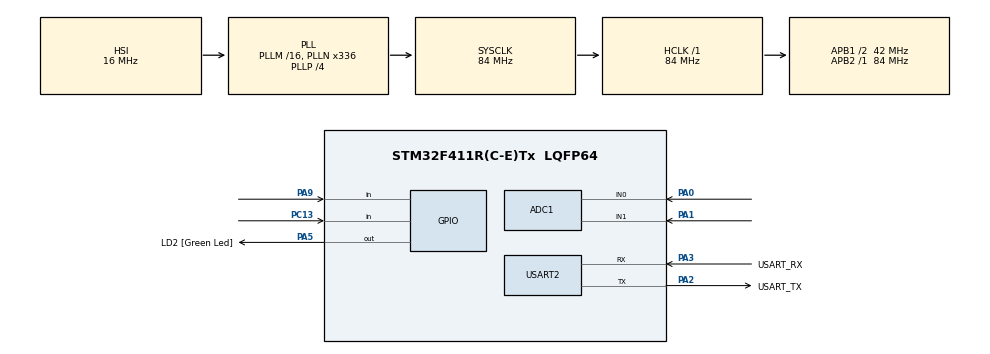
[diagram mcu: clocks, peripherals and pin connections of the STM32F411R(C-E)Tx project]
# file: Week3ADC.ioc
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ADC1.Channel-0\#ChannelRegularConversion=ADC_CHANNEL_0
ADC1.NbrOfConversionFlag=1
ADC1.Rank-0\#ChannelRegularConversion=1
ADC1.SamplingTime-0\#ChannelRegularConversion=ADC_SAMPLETIME_3CYCLES
ADC1.master=1
Mcu.Family=STM32F4
Mcu.Name=STM32F411R(C-E)Tx
Mcu.Package=LQFP64
NVIC.PriorityGroup=NVIC_PRIORITYGROUP_0
PA0-WKUP.Signal=ADCx_IN0
PA1.Signal=ADCx_IN1
PA13.GPIO_Label=TMS
PA13.Mode=Serial_Wire
PA13.Signal=SYS_JTMS-SWDIO
PA14.GPIO_Label=TCK
PA14.Mode=Serial_Wire
PA14.Signal=SYS_JTCK-SWCLK
PA2.GPIO_Label=USART_TX
PA2.Mode=Asynchronous
PA2.Signal=USART2_TX
PA3.GPIO_Label=USART_RX
PA3.Mode=Asynchronous
PA3.Signal=USART2_RX
PA5.GPIO_Label=LD2 [Green Led]
PA5.Signal=GPIO_Output
PA9.Signal=GPIO_Input
PB3.GPIO_Label=SWO
PB3.Signal=SYS_JTDO-SWO
PC13-ANTI_TAMP.Signal=GPIO_Input
PC14-OSC32_IN.Mode=LSE-External-Oscillator
PC14-OSC32_IN.Signal=RCC_OSC32_IN
PC15-OSC32_OUT.Mode=LSE-External-Oscillator
PC15-OSC32_OUT.Signal=RCC_OSC32_OUT
PH0\ -\ OSC_IN.Mode=HSE-External-Clock-Source
PH0\ -\ OSC_IN.Signal=RCC_OSC_IN
PH1\ -\ OSC_OUT.Mode=HSE-External-Clock-Source
PH1\ -\ OSC_OUT.Signal=RCC_OSC_OUT
ProjectManager.HeapSize=0x200
ProjectManager.StackSize=0x400
ProjectManager.TargetToolchain=STM32CubeIDE
RCC.48MHZClocksFreq_Value=84000000
RCC.AHBFreq_Value=84000000
RCC.APB1CLKDivider=RCC_HCLK_DIV2
RCC.APB1Freq_Value=42000000
RCC.APB1TimFreq_Value=84000000
RCC.APB2Freq_Value=84000000
RCC.APB2TimFreq_Value=84000000
RCC.CortexFreq_Value=84000000
RCC.FLatency-AdvancedSettings=FLASH_LATENCY_2
RCC.HCLKFreq_Value=84000000
RCC.HSE_VALUE=8000000
RCC.HSI_VALUE=16000000
RCC.PLLN=336
RCC.PLLP=RCC_PLLP_DIV4
RCC.SYSCLKFreq_VALUE=84000000
RCC.SYSCLKSource=RCC_SYSCLKSOURCE_PLLCLK
RCC.VCOOutputFreq_Value=336000000
SH.ADCx_IN0.0=ADC1_IN0,IN0
SH.ADCx_IN1.0=ADC1_IN1,IN1
USART2.VirtualMode=VM_ASYNC
VP_ADC1_TempSens_Input.Mode=IN-TempSens
board=NUCLEO-F411RE

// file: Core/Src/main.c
/* USER CODE BEGIN Header */
/**
  ******************************************************************************
  * @file           : main.c
  * @brief          : Main program body
  ******************************************************************************
  * @attention
  *
  * <h2><center>&copy; Copyright (c) 2021 STMicroelectronics.
  * All rights reserved.</center></h2>
  *
  * This software component is licensed by ST under BSD 3-Clause license,
  * the "License"; You may not use this file except in compliance with the
  * License. You may obtain a copy of the License at:
  *                        opensource.org/licenses/BSD-3-Clause
  *
  ******************************************************************************
  */
/* USER CODE END Header */
#include "main.h"

ADC_HandleTypeDef hadc1;

UART_HandleTypeDef huart2;

/* USER CODE BEGIN PV */
typedef struct
{
	ADC_ChannelConfTypeDef Config;
	uint32_t Data;
} ADCStructure;

ADCStructure ADCChannel[2] = {0};

/* USER CODE END PV */

void SystemClock_Config(void);
static void MX_GPIO_Init(void);
static void MX_USART2_UART_Init(void);
static void MX_ADC1_Init(void);
/* USER CODE BEGIN PFP */
void ADCPollingMethodInit(); // Init Config of 3 ADC
void ADCPollingMethodUpdate(); // Read ADC From 3 Source(In0,In1,Temp)
/* USER CODE END PFP */

/* USER CODE BEGIN 0 */
//uint32_t ADCOutputConverted = 0;
float ADCOutputConverted = 0.0;
uint8_t ADCMode = 0;

GPIO_PinState SwitchMode[2]; // [Now,Last]
uint32_t TimeStamp = 0;
/* USER CODE END 0 */

int main(void)
{

  /* MCU Configuration--------------------------------------------------------*/

  /* Reset of all peripherals, Initializes the Flash interface and the Systick. */
  HAL_Init();

  /* Configure the system clock */
  SystemClock_Config();

  /* Initialize all configured peripherals */
  MX_GPIO_Init();
  MX_USART2_UART_Init();
  MX_ADC1_Init();
  /* USER CODE BEGIN 2 */
  ADCPollingMethodInit();

  /* USER CODE END 2 */

  /* Infinite loop */
  while (1)
  {

    /* USER CODE BEGIN 3 */
	if(HAL_GetTick() - TimeStamp >= 100)
	{
		TimeStamp = HAL_GetTick();
		SwitchMode[0] = HAL_GPIO_ReadPin(GPIOC, GPIO_PIN_13);
		ADCPollingMethodUpdate(); // read analog
		if(SwitchMode[1] == GPIO_PIN_SET && SwitchMode[0] == GPIO_PIN_RESET)
		{
			if(ADCMode == 0)
			{
				ADCMode = 1;

			}
			else
			{
				ADCMode = 0;

			}
		}
		if(ADCMode == 1)
		{
			ADCOutputConverted = (((ADCChannel[1].Data*3300/4096)-760)/2.5)+25;
		}
		else
		{
			ADCOutputConverted = (3300*ADCChannel[0].Data/4096);
		}
		SwitchMode[1] = SwitchMode[0];
	}

  }
  /* USER CODE END 3 */
}

void SystemClock_Config(void)
{
  RCC_OscInitTypeDef RCC_OscInitStruct = {0};
  RCC_ClkInitTypeDef RCC_ClkInitStruct = {0};

  /** Configure the main internal regulator output voltage
  */
  __HAL_RCC_PWR_CLK_ENABLE();
  __HAL_PWR_VOLTAGESCALING_CONFIG(PWR_REGULATOR_VOLTAGE_SCALE1);
  /** Initializes the RCC Oscillators according to the specified parameters
  * in the RCC_OscInitTypeDef structure.
  */
  RCC_OscInitStruct.OscillatorType = RCC_OSCILLATORTYPE_HSI;
  RCC_OscInitStruct.HSIState = RCC_HSI_ON;
  RCC_OscInitStruct.HSICalibrationValue = RCC_HSICALIBRATION_DEFAULT;
  RCC_OscInitStruct.PLL.PLLState = RCC_PLL_ON;
  RCC_OscInitStruct.PLL.PLLSource = RCC_PLLSOURCE_HSI;
  RCC_OscInitStruct.PLL.PLLM = 16;
  RCC_OscInitStruct.PLL.PLLN = 336;
  RCC_OscInitStruct.PLL.PLLP = RCC_PLLP_DIV4;
  RCC_OscInitStruct.PLL.PLLQ = 4;
  if (HAL_RCC_OscConfig(&RCC_OscInitStruct) != HAL_OK)
  {
    Error_Handler();
  }
  /** Initializes the CPU, AHB and APB buses clocks
  */
  RCC_ClkInitStruct.ClockType = RCC_CLOCKTYPE_HCLK|RCC_CLOCKTYPE_SYSCLK
                              |RCC_CLOCKTYPE_PCLK1|RCC_CLOCKTYPE_PCLK2;
  RCC_ClkInitStruct.SYSCLKSource = RCC_SYSCLKSOURCE_PLLCLK;
  RCC_ClkInitStruct.AHBCLKDivider = RCC_SYSCLK_DIV1;
  RCC_ClkInitStruct.APB1CLKDivider = RCC_HCLK_DIV2;
  RCC_ClkInitStruct.APB2CLKDivider = RCC_HCLK_DIV1;

  if (HAL_RCC_ClockConfig(&RCC_ClkInitStruct, FLASH_LATENCY_2) != HAL_OK)
  {
    Error_Handler();
  }
}

static void MX_ADC1_Init(void)
{

  ADC_ChannelConfTypeDef sConfig = {0};

  /** Configure the global features of the ADC (Clock, Resolution, Data Alignment and number of conversion)
  */
  hadc1.Instance = ADC1;
  hadc1.Init.ClockPrescaler = ADC_CLOCK_SYNC_PCLK_DIV4;
  hadc1.Init.Resolution = ADC_RESOLUTION_12B;
  hadc1.Init.ScanConvMode = DISABLE;
  hadc1.Init.ContinuousConvMode = DISABLE;
  hadc1.Init.DiscontinuousConvMode = DISABLE;
  hadc1.Init.ExternalTrigConvEdge = ADC_EXTERNALTRIGCONVEDGE_NONE;
  hadc1.Init.ExternalTrigConv = ADC_SOFTWARE_START;
  hadc1.Init.DataAlign = ADC_DATAALIGN_RIGHT;
  hadc1.Init.NbrOfConversion = 1;
  hadc1.Init.DMAContinuousRequests = DISABLE;
  hadc1.Init.EOCSelection = ADC_EOC_SINGLE_CONV;
  if (HAL_ADC_Init(&hadc1) != HAL_OK)
  {
    Error_Handler();
  }
  /** Configure for the selected ADC regular channel its corresponding rank in the sequencer and its sample time.
  */
  sConfig.Channel = ADC_CHANNEL_0;
  sConfig.Rank = 1;
  sConfig.SamplingTime = ADC_SAMPLETIME_3CYCLES;
  if (HAL_ADC_ConfigChannel(&hadc1, &sConfig) != HAL_OK)
  {
    Error_Handler();
  }

}

static void MX_USART2_UART_Init(void)
{

  huart2.Instance = USART2;
  huart2.Init.BaudRate = 115200;
  huart2.Init.WordLength = UART_WORDLENGTH_8B;
  huart2.Init.StopBits = UART_STOPBITS_1;
  huart2.Init.Parity = UART_PARITY_NONE;
  huart2.Init.Mode = UART_MODE_TX_RX;
  huart2.Init.HwFlowCtl = UART_HWCONTROL_NONE;
  huart2.Init.OverSampling = UART_OVERSAMPLING_16;
  if (HAL_UART_Init(&huart2) != HAL_OK)
  {
    Error_Handler();
  }

}

static void MX_GPIO_Init(void)
{
  GPIO_InitTypeDef GPIO_InitStruct = {0};

  /* GPIO Ports Clock Enable */
  __HAL_RCC_GPIOC_CLK_ENABLE();
  __HAL_RCC_GPIOH_CLK_ENABLE();
  __HAL_RCC_GPIOA_CLK_ENABLE();
  __HAL_RCC_GPIOB_CLK_ENABLE();

  /*Configure GPIO pin Output Level */
  HAL_GPIO_WritePin(LD2_GPIO_Port, LD2_Pin, GPIO_PIN_RESET);

  /*Configure GPIO pin : PC13 */
  GPIO_InitStruct.Pin = GPIO_PIN_13;
  GPIO_InitStruct.Mode = GPIO_MODE_INPUT;
  GPIO_InitStruct.Pull = GPIO_NOPULL;
  HAL_GPIO_Init(GPIOC, &GPIO_InitStruct);

  /*Configure GPIO pin : LD2_Pin */
  GPIO_InitStruct.Pin = LD2_Pin;
  GPIO_InitStruct.Mode = GPIO_MODE_OUTPUT_PP;
  GPIO_InitStruct.Pull = GPIO_NOPULL;
  GPIO_InitStruct.Speed = GPIO_SPEED_FREQ_LOW;
  HAL_GPIO_Init(LD2_GPIO_Port, &GPIO_InitStruct);

  /*Configure GPIO pin : PA9 */
  GPIO_InitStruct.Pin = GPIO_PIN_9;
  GPIO_InitStruct.Mode = GPIO_MODE_INPUT;
  GPIO_InitStruct.Pull = GPIO_NOPULL;
  HAL_GPIO_Init(GPIOA, &GPIO_InitStruct);

}

/* USER CODE BEGIN 4 */

void ADCPollingMethodInit()
{
	// PA0 - ADC IN0
	ADCChannel[0].Config.Channel = ADC_CHANNEL_0;
	ADCChannel[0].Config.Rank = 1;
	ADCChannel[0].Config.SamplingTime = ADC_SAMPLETIME_3CYCLES;

	// PA1 - ADC IN1
	//ADCChannel[1].Config.Channel = ADC_CHANNEL_1;
	//ADCChannel[1].Config.Rank = 1;
	//ADCChannel[1].Config.SamplingTime = ADC_SAMPLETIME_3CYCLES;

	// Temp
	ADCChannel[1].Config.Channel = ADC_CHANNEL_TEMPSENSOR;
	ADCChannel[1].Config.Rank = 1;
	ADCChannel[1].Config.SamplingTime = ADC_SAMPLETIME_3CYCLES;
}

void ADCPollingMethodUpdate()
{
	for(int i=0;i<2;i+=1) // 0,1
	{
		// select channel
		HAL_ADC_ConfigChannel(&hadc1, &ADCChannel[i].Config);
		// ADC Sampling ,Convert
		HAL_ADC_Start(&hadc1);
		// Wait ADC
		if(HAL_ADC_PollForConversion(&hadc1, 10) == HAL_OK)
		{
			// Get Value
			ADCChannel[i].Data = HAL_ADC_GetValue(&hadc1);
		}
		// Stop
		HAL_ADC_Stop(&hadc1);
	}

}
/* USER CODE END 4 */

void Error_Handler(void)
{
  __disable_irq();
  while (1)
  {
  }
}

/************************ (C) COPYRIGHT STMicroelectronics *****END OF FILE****/
